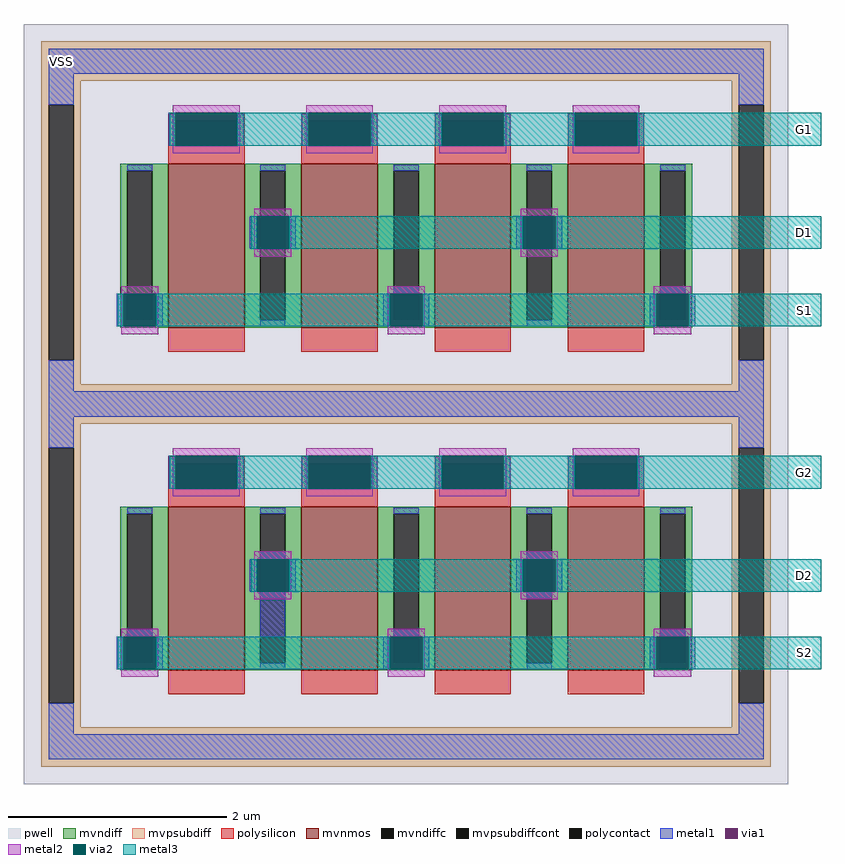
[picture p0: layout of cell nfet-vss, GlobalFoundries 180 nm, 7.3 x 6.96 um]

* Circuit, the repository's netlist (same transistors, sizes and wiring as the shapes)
** sch_path: /foss/designs/sscs-chipathon2025-LNA/designs/libs/core_single-fet/nfet-vss/nfet-vss.sch
.subckt nfet-vss D1 G1 S1 D2 G2 S2 VSS
*.PININFO VSS:B S2:B G2:B D2:B S1:B G1:B D1:B
M13 D2 G2 S2 VSS nfet_06v0 L=0.70u W=1.5u nf=1 m=4
M14 D1 G1 S1 VSS nfet_06v0 L=0.70u W=1.5u nf=1 m=4
.ends

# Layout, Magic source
magic
tech gf180mcuD
magscale 1 10
<< metal1 >>
rect -1795 -759 -1749 -713
rect -1575 -891 -1563 -831
rect -1449 -891 -1437 -831
rect -1331 -891 -1319 -831
rect -1205 -891 -1193 -831
rect -1087 -891 -1075 -831
rect -961 -891 -949 -831
rect -843 -891 -831 -831
rect -717 -891 -705 -831
rect -1426 -1080 -1414 -1020
rect -1354 -1080 -1342 -1020
rect -938 -1080 -926 -1020
rect -866 -1080 -854 -1020
rect -1163 -1162 -1117 -1148
rect -675 -1162 -629 -1148
rect -1670 -1222 -1658 -1162
rect -1598 -1222 -1586 -1162
rect -1182 -1222 -1170 -1162
rect -1110 -1222 -1098 -1162
rect -694 -1222 -682 -1162
rect -622 -1222 -610 -1162
rect -1575 -1519 -1563 -1459
rect -1449 -1519 -1437 -1459
rect -1331 -1519 -1319 -1459
rect -1205 -1519 -1193 -1459
rect -1087 -1519 -1075 -1459
rect -961 -1519 -949 -1459
rect -843 -1519 -831 -1459
rect -717 -1519 -705 -1459
rect -1407 -1648 -1361 -1634
rect -919 -1648 -873 -1634
rect -1426 -1708 -1414 -1648
rect -1354 -1708 -1342 -1648
rect -938 -1708 -926 -1648
rect -866 -1708 -854 -1648
rect -1651 -1790 -1605 -1776
rect -1407 -1790 -1361 -1708
rect -919 -1722 -873 -1708
rect -1163 -1790 -1117 -1776
rect -675 -1790 -629 -1776
rect -1670 -1850 -1658 -1790
rect -1598 -1850 -1586 -1790
rect -1182 -1850 -1170 -1790
rect -1110 -1850 -1098 -1790
rect -694 -1850 -682 -1790
rect -622 -1850 -610 -1790
<< via1 >>
rect -1563 -891 -1449 -831
rect -1319 -891 -1205 -831
rect -1075 -891 -961 -831
rect -831 -891 -717 -831
rect -1414 -1080 -1354 -1020
rect -926 -1080 -866 -1020
rect -1658 -1222 -1598 -1162
rect -1170 -1222 -1110 -1162
rect -682 -1222 -622 -1162
rect -1563 -1519 -1449 -1459
rect -1319 -1519 -1205 -1459
rect -1075 -1519 -961 -1459
rect -831 -1519 -717 -1459
rect -1414 -1708 -1354 -1648
rect -926 -1708 -866 -1648
rect -1658 -1850 -1598 -1790
rect -1170 -1850 -1110 -1790
rect -682 -1850 -622 -1790
<< metal2 >>
rect -1567 -831 -1445 -817
rect -1567 -891 -1563 -831
rect -1449 -891 -1445 -831
rect -1567 -905 -1445 -891
rect -1323 -831 -1201 -817
rect -1323 -891 -1319 -831
rect -1205 -891 -1201 -831
rect -1323 -905 -1201 -891
rect -1079 -831 -957 -817
rect -1079 -891 -1075 -831
rect -961 -891 -957 -831
rect -1079 -905 -957 -891
rect -835 -831 -713 -817
rect -835 -891 -831 -831
rect -717 -891 -713 -831
rect -835 -905 -713 -891
rect -1418 -1020 -1350 -1006
rect -1418 -1080 -1414 -1020
rect -1354 -1080 -1350 -1020
rect -1418 -1094 -1350 -1080
rect -930 -1020 -862 -1006
rect -930 -1080 -926 -1020
rect -866 -1080 -862 -1020
rect -930 -1094 -862 -1080
rect -1662 -1162 -1594 -1148
rect -1662 -1222 -1658 -1162
rect -1598 -1222 -1594 -1162
rect -1662 -1236 -1594 -1222
rect -1174 -1162 -1106 -1148
rect -1174 -1222 -1170 -1162
rect -1110 -1222 -1106 -1162
rect -1174 -1236 -1106 -1222
rect -686 -1162 -618 -1148
rect -686 -1222 -682 -1162
rect -622 -1222 -618 -1162
rect -686 -1236 -618 -1222
rect -1567 -1459 -1445 -1445
rect -1567 -1519 -1563 -1459
rect -1449 -1519 -1445 -1459
rect -1567 -1533 -1445 -1519
rect -1323 -1459 -1201 -1445
rect -1323 -1519 -1319 -1459
rect -1205 -1519 -1201 -1459
rect -1323 -1533 -1201 -1519
rect -1079 -1459 -957 -1445
rect -1079 -1519 -1075 -1459
rect -961 -1519 -957 -1459
rect -1079 -1533 -957 -1519
rect -835 -1459 -713 -1445
rect -835 -1519 -831 -1459
rect -717 -1519 -713 -1459
rect -835 -1533 -713 -1519
rect -1418 -1648 -1350 -1634
rect -1418 -1708 -1414 -1648
rect -1354 -1708 -1350 -1648
rect -1418 -1722 -1350 -1708
rect -930 -1648 -862 -1634
rect -930 -1708 -926 -1648
rect -866 -1708 -862 -1648
rect -930 -1722 -862 -1708
rect -1662 -1790 -1594 -1776
rect -1662 -1850 -1658 -1790
rect -1598 -1850 -1594 -1790
rect -1662 -1864 -1594 -1850
rect -1174 -1790 -1106 -1776
rect -1174 -1850 -1170 -1790
rect -1110 -1850 -1106 -1790
rect -1174 -1864 -1106 -1850
rect -686 -1790 -618 -1776
rect -686 -1850 -682 -1790
rect -622 -1850 -618 -1790
rect -686 -1864 -618 -1850
<< via2 >>
rect -1563 -891 -1449 -831
rect -1319 -891 -1205 -831
rect -1075 -891 -961 -831
rect -831 -891 -717 -831
rect -1414 -1080 -1354 -1020
rect -926 -1080 -866 -1020
rect -1658 -1222 -1598 -1162
rect -1170 -1222 -1110 -1162
rect -682 -1222 -622 -1162
rect -1563 -1519 -1449 -1459
rect -1319 -1519 -1205 -1459
rect -1075 -1519 -961 -1459
rect -831 -1519 -717 -1459
rect -1414 -1708 -1354 -1648
rect -926 -1708 -866 -1648
rect -1658 -1850 -1598 -1790
rect -1170 -1850 -1110 -1790
rect -682 -1850 -622 -1790
<< metal3 >>
rect -1573 -891 -1563 -831
rect -1449 -891 -1319 -831
rect -1205 -891 -1075 -831
rect -961 -891 -831 -831
rect -717 -891 -380 -831
rect -1424 -1080 -1414 -1020
rect -1354 -1080 -926 -1020
rect -866 -1080 -380 -1020
rect -1668 -1222 -1658 -1162
rect -1598 -1222 -1170 -1162
rect -1110 -1222 -682 -1162
rect -622 -1222 -380 -1162
rect -1573 -1519 -1563 -1459
rect -1449 -1519 -1319 -1459
rect -1205 -1519 -1075 -1459
rect -961 -1519 -831 -1459
rect -717 -1519 -380 -1459
rect -1424 -1708 -1414 -1648
rect -1354 -1708 -926 -1648
rect -866 -1708 -380 -1648
rect -1668 -1850 -1658 -1790
rect -1598 -1850 -1170 -1790
rect -1110 -1850 -682 -1790
rect -622 -1850 -380 -1790
use nfet_06v0_52FGQA  M13
transform 1 0 -1140 0 1 -1050
box -700 -382 700 382
use nfet_06v0_52FGQA  nfet_06v0_52FGQA_0
transform 1 0 -1140 0 1 -1678
box -700 -382 700 382
<< labels >>
flabel metal1 -1795 -759 -1749 -713 0 FreeSans 320 0 0 0 VSS
port 0 nsew
flabel metal3 -440 -891 -380 -831 0 FreeSans 320 0 0 0 G1
port 1 nsew
flabel metal3 -440 -1080 -380 -1020 0 FreeSans 320 0 0 0 D1
port 2 nsew
flabel metal3 -440 -1222 -380 -1162 0 FreeSans 320 0 0 0 S1
port 3 nsew
flabel metal3 -440 -1519 -380 -1459 0 FreeSans 320 0 0 0 G2
port 4 nsew
flabel metal3 -440 -1708 -380 -1648 0 FreeSans 320 0 0 0 D2
port 5 nsew
flabel metal3 -440 -1850 -380 -1790 0 FreeSans 320 0 0 0 S2
port 6 nsew
<< end >>

# cell nfet_06v0_52FGQA: kit device nfet_06v0, w 1.5 l 0.7 m 1 nf 4 diffcov 100 polycov 100 guard 1 glc 1 grc 1 gtc 0 gbc 0 tbcov 100 rlcov 100 topc 1 botc 0 poverlap 0 doverlap 1 lmin 0.6 wmin 0.3 class mosfet full_metal 1 compatible {nfet_03v3 nfet_06v0 nfet_06v0_nvt}
